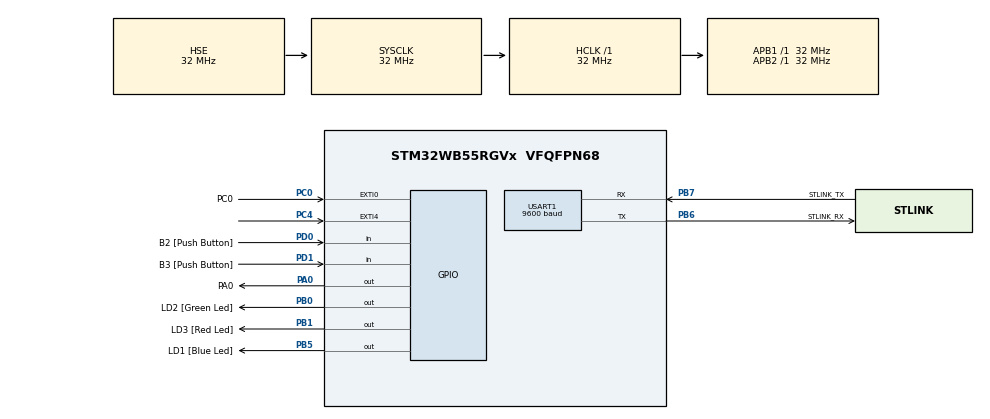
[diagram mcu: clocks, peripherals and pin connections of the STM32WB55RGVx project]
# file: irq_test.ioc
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FREERTOS.Tasks01=defaultTask,24,128,StartDefaultTask,Default,NULL
FREERTOS.configTOTAL_HEAP_SIZE=10000
Mcu.Family=STM32WB
Mcu.Name=STM32WB55RGVx
Mcu.Package=VFQFPN68
NVIC.EXTI0_IRQn=true\:5\:0\:false\:false\:true\:true\:true\:true
NVIC.PriorityGroup=NVIC_PRIORITYGROUP_4
NVIC.TIM1_UP_TIM16_IRQn=true\:0\:0\:false\:false\:true\:false\:false\:true
NVIC.TimeBase=TIM1_UP_TIM16_IRQn
NVIC.TimeBaseIP=TIM1
NVIC.USART1_IRQn=true\:5\:0\:false\:false\:true\:true\:true\:true
OSC_IN.Mode=HSE-External-Oscillator
OSC_IN.Signal=RCC_OSC_IN
OSC_OUT.Mode=HSE-External-Oscillator
OSC_OUT.Signal=RCC_OSC_OUT
PA0.GPIO_Label=PA0
PA0.Signal=GPIO_Output
PA11.Signal=USART1_CTS
PA12.Signal=USART1_RTS
PA13.GPIO_Label=JTMS
PA13.Mode=Trace_Asynchronous_SW
PA13.Signal=SYS_JTMS-SWDIO
PA14.GPIO_Label=JTCK
PA14.Mode=Trace_Asynchronous_SW
PA14.Signal=SYS_JTCK-SWCLK
PB0.GPIO_Label=LD2 [Green Led]
PB0.Signal=GPIO_Output
PB1.GPIO_Label=LD3 [Red Led]
PB1.Signal=GPIO_Output
PB3.GPIO_Label=JTDO
PB3.Mode=Trace_Asynchronous_SW
PB3.Signal=SYS_JTDO-SWO
PB5.GPIO_Label=LD1 [Blue Led]
PB5.Signal=GPIO_Output
PB6.GPIO_Label=STLINK_RX
PB6.Mode=Asynchronous
PB6.Signal=USART1_TX
PB7.GPIO_Label=STLINK_TX
PB7.Mode=Asynchronous
PB7.Signal=USART1_RX
PC0.GPIO_Label=PC0
PC0.GPIO_ModeDefaultEXTI=GPIO_MODE_IT_RISING_FALLING
PC0.Signal=GPXTI0
PC13.Mode=SYS_WakeUp1
PC13.Signal=SYS_WKUP2
PC14-OSC32_IN.Mode=LSE-External-Oscillator
PC14-OSC32_IN.Signal=RCC_OSC32_IN
PC15-OSC32_OUT.Mode=LSE-External-Oscillator
PC15-OSC32_OUT.Signal=RCC_OSC32_OUT
PC4.Signal=GPXTI4
PD0.GPIO_Label=B2 [Push Button]
PD0.Signal=GPIO_Input
PD1.GPIO_Label=B3 [Push Button]
PD1.Signal=GPIO_Input
ProjectManager.HeapSize=0x200
ProjectManager.StackSize=0x400
ProjectManager.TargetToolchain=TrueSTUDIO
RCC.ADCFreq_Value=48000000
RCC.AHBFreq_Value=32000000
RCC.APB1Freq_Value=32000000
RCC.APB1TimFreq_Value=32000000
RCC.APB2Freq_Value=32000000
RCC.APB2TimFreq_Value=32000000
RCC.APB3Freq_Value=16000000
RCC.CortexFreq_Value=32000000
RCC.HCLKFreq_Value=32000000
RCC.HSE_VALUE=32000000
RCC.HSI48_VALUE=48000000
RCC.HSI_VALUE=16000000
RCC.PLLN=32
RCC.PLLSAI1N=24
RCC.SMPSCLockSelectionVirtual=RCC_SMPSCLKSOURCE_HSI
RCC.SYSCLKFreq_VALUE=32000000
RCC.SYSCLKSource=RCC_SYSCLKSOURCE_HSE
RCC.USBFreq_Value=48000000
RCC.VCOOutputFreq_Value=128000000
TIM16.AutoReloadPreload=TIM_AUTORELOAD_PRELOAD_DISABLE
TIM16.Period=65535
TIM16.Prescaler=31
USART1.BaudRate=9600
USART1.Mode=MODE_TX
USART1.VirtualMode-Asynchronous=VM_ASYNC
USART1.WordLength=WORDLENGTH_8B
VP_FREERTOS_VS_CMSIS_V2.Mode=CMSIS_V2
VP_SYS_VS_tim1.Mode=TIM1
VP_TIM16_VS_ClockSourceINT.Mode=Enable_Timer
board=P-NUCLEO-WB55-Nucleo

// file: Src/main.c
/* USER CODE BEGIN Header */
/**
  ******************************************************************************
  * @file           : main.c
  * @brief          : Main program body
  ******************************************************************************
  * @attention
  *
  * <h2><center>&copy; Copyright (c) 2019 STMicroelectronics.
  * All rights reserved.</center></h2>
  *
  * This software component is licensed by ST under BSD 3-Clause license,
  * the "License"; You may not use this file except in compliance with the
  * License. You may obtain a copy of the License at:
  *                        opensource.org/licenses/BSD-3-Clause
  *
  ******************************************************************************
  */
/* USER CODE END Header */

#include "main.h"
#include "cmsis_os.h"
#include "tim.h"
#include "usart.h"
#include "gpio.h"

/* USER CODE BEGIN Includes */
#include "input.h"
#include "UART_Print.h"
/* USER CODE END Includes */

/* USER CODE BEGIN PV */
uint16_t timestamp;
/* USER CODE END PV */

void SystemClock_Config(void);
void MX_FREERTOS_Init(void);

int main(void)
{

  /* MCU Configuration--------------------------------------------------------*/

  /* Reset of all peripherals, Initializes the Flash interface and the Systick. */
  HAL_Init();

  /* USER CODE BEGIN Init */

  /*
  0.9906603097915649 3.1649246215820312 -3.1641173362731934

  1.1191024780273438 2.9254844188690186 -3.0168585777282715

  1.390141248703003 2.7151379585266113 -2.6727542877197266
  1.3916372060775757 2.71722412109375 -2.6725592613220215
  1.3913373947143555 2.715819835662842 -2.670470714569092
  1.3902995586395264 2.7140369415283203 -2.6673338413238525
  1.3900556564331055 2.714602470397949 -2.6696364879608154
  1.39014732837677 2.7127089500427246 -2.6654574871063232
  1.389641284942627 2.7145214080810547 -2.6688194274902344
  1.3903274536132812 2.7141833305358887 -2.667147159576416
  1.3897883892059326 2.71459698677063 -2.669027805328369
  1.3894896507263184 2.7131919860839844 -2.6669399738311768

  1.4567177295684814 2.652040958404541 -2.2498369216918945
  1.4570386409759521 2.6543631553649902 -2.25695538520813
  1.4570386409759521 2.6543631553649902 -2.25695538520813
  1.4597516059875488 2.6657347679138184 -2.2779958248138428
  1.457124948501587 2.6544549465179443 -2.257263660430908
  1.457124948501587 2.6544549465179443 -2.257263660430908
  1.4589807987213135 2.661530017852783 -2.266141414642334
  1.457320213317871 2.654055595397949 -2.2550864219665527
  1.4574520587921143 2.655864715576172 -2.2638890743255615
  1.4589322805404663 2.661686897277832 -2.2710394859313965
  1.4573485851287842 2.6540489196777344 -2.2551157474517822

  1.3388992547988892 2.1371521949768066 -0.9773949384689331

  1.2812772989273071 2.131464958190918 -0.30127477645874023

  -0.8058124780654907 2.125798225402832 -1.981210708618164

  -0.7668148279190063 2.0839972496032715 -1.6217743158340454

  -0.7405673861503601 1.95911705493927 -1.0910862684249878

  -0.7028796672821045 1.9338493347167969 -0.8308773636817932

  -0.35385504364967346 1.975441336631775 -0.5765801072120667

  0.0006465911865234375 2.036484479904175 -0.7312285900115967

*/

  /* USER CODE END Init */

  /* Configure the system clock */
  SystemClock_Config();

  /* Initialize all configured peripherals */
  MX_GPIO_Init();
  MX_USART1_UART_Init();
  MX_TIM16_Init();
  /* USER CODE BEGIN 2 */
  UART_Send_Start();

  HAL_TIM_Base_Start(&htim16);

  /* USER CODE END 2 */

  /* Call init function for freertos objects (in freertos.c) */
  MX_FREERTOS_Init();

  /* Start scheduler */
  osKernelStart();

  /* We should never get here as control is now taken by the scheduler */

  /* Infinite loop */
  while (1)
  {

  }
}

void SystemClock_Config(void)
{
  RCC_OscInitTypeDef RCC_OscInitStruct = {0};
  RCC_ClkInitTypeDef RCC_ClkInitStruct = {0};
  RCC_PeriphCLKInitTypeDef PeriphClkInitStruct = {0};

  /** Configure the main internal regulator output voltage
  */
  __HAL_PWR_VOLTAGESCALING_CONFIG(PWR_REGULATOR_VOLTAGE_SCALE1);
  /** Initializes the CPU, AHB and APB busses clocks
  */
  RCC_OscInitStruct.OscillatorType = RCC_OSCILLATORTYPE_HSI|RCC_OSCILLATORTYPE_HSE;
  RCC_OscInitStruct.HSEState = RCC_HSE_ON;
  RCC_OscInitStruct.HSIState = RCC_HSI_ON;
  RCC_OscInitStruct.HSICalibrationValue = RCC_HSICALIBRATION_DEFAULT;
  RCC_OscInitStruct.PLL.PLLState = RCC_PLL_NONE;
  if (HAL_RCC_OscConfig(&RCC_OscInitStruct) != HAL_OK)
  {
    Error_Handler();
  }
  /** Configure the SYSCLKSource, HCLK, PCLK1 and PCLK2 clocks dividers
  */
  RCC_ClkInitStruct.ClockType = RCC_CLOCKTYPE_HCLK4|RCC_CLOCKTYPE_HCLK2
                              |RCC_CLOCKTYPE_HCLK|RCC_CLOCKTYPE_SYSCLK
                              |RCC_CLOCKTYPE_PCLK1|RCC_CLOCKTYPE_PCLK2;
  RCC_ClkInitStruct.SYSCLKSource = RCC_SYSCLKSOURCE_HSE;
  RCC_ClkInitStruct.AHBCLKDivider = RCC_SYSCLK_DIV1;
  RCC_ClkInitStruct.APB1CLKDivider = RCC_HCLK_DIV1;
  RCC_ClkInitStruct.APB2CLKDivider = RCC_HCLK_DIV1;
  RCC_ClkInitStruct.AHBCLK2Divider = RCC_SYSCLK_DIV1;
  RCC_ClkInitStruct.AHBCLK4Divider = RCC_SYSCLK_DIV1;

  if (HAL_RCC_ClockConfig(&RCC_ClkInitStruct, FLASH_LATENCY_1) != HAL_OK)
  {
    Error_Handler();
  }
  /** Initializes the peripherals clocks
  */
  PeriphClkInitStruct.PeriphClockSelection = RCC_PERIPHCLK_SMPS|RCC_PERIPHCLK_USART1;
  PeriphClkInitStruct.Usart1ClockSelection = RCC_USART1CLKSOURCE_PCLK2;
  PeriphClkInitStruct.SmpsClockSelection = RCC_SMPSCLKSOURCE_HSI;
  PeriphClkInitStruct.SmpsDivSelection = RCC_SMPSCLKDIV_RANGE1;

  if (HAL_RCCEx_PeriphCLKConfig(&PeriphClkInitStruct) != HAL_OK)
  {
    Error_Handler();
  }
}

/* USER CODE BEGIN 4 */

void HAL_GPIO_EXTI_Callback(uint16_t GPIO_Pin){
	timestamp = __HAL_TIM_GET_COUNTER(&htim16);

	GPIO_PinState pin_state = HAL_GPIO_ReadPin(PC0_GPIO_Port, PC0_Pin);
	if (pin_state == GPIO_PIN_SET) {
		//Rising edge
		input0.rise_time_ = timestamp;
		input0.rise_valid_ = 1;
		HAL_GPIO_WritePin(GPIOA, GPIO_PIN_0, GPIO_PIN_SET);
	}
	else if (input0.rise_valid_ && pin_state == GPIO_PIN_RESET) {
		//Falling edge
		enqueue_pulse(&input0, input0.rise_time_, timestamp - input0.rise_time_);
		input0.rise_valid_ = 0;
		HAL_GPIO_WritePin(GPIOA, GPIO_PIN_0, GPIO_PIN_RESET);
	}
}

/* USER CODE END 4 */

void HAL_TIM_PeriodElapsedCallback(TIM_HandleTypeDef *htim)
{
  if (htim->Instance == TIM1) {
    HAL_IncTick();
  }
}

void Error_Handler(void)
{
}

/************************ (C) COPYRIGHT STMicroelectronics *****END OF FILE****/

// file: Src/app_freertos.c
/* USER CODE BEGIN Header */
/**
  ******************************************************************************
  * File Name          : app_freertos.c
  * Description        : Code for freertos applications
  ******************************************************************************
  * @attention
  *
  * <h2><center>&copy; Copyright (c) 2020 STMicroelectronics.
  * All rights reserved.</center></h2>
  *
  * This software component is licensed by ST under Ultimate Liberty license
  * SLA0044, the "License"; You may not use this file except in compliance with
  * the License. You may obtain a copy of the License at:
  *                             www.st.com/SLA0044
  *
  ******************************************************************************
  */
/* USER CODE END Header */

#include "FreeRTOS.h"
#include "task.h"
#include "main.h"
#include "cmsis_os.h"

/* USER CODE BEGIN Includes */
#include "input.h"
#include "pulse_processor.h"
/* USER CODE END Includes */

osThreadId_t defaultTaskHandle;

void StartDefaultTask(void *argument);

void MX_FREERTOS_Init(void); /* (MISRA C 2004 rule 8.1) */

void MX_FREERTOS_Init(void) {
osKernelInitialize();

  /* Create the thread(s) */
  /* definition and creation of defaultTask */

/*
  const osThreadAttr_t defaultTask_attributes = {
    .name = "defaultTask",
    .priority = (osPriority_t) osPriorityNormal,
    .stack_size = 128
  };
  defaultTaskHandle = osThreadNew(StartDefaultTask, NULL, &defaultTask_attributes);
*/

  /* USER CODE BEGIN RTOS_THREADS */
  /* add threads, ... */
	const osThreadAttr_t masterTask_attributes = {
		.name = "masterTask",
		.priority = (osPriority_t) osPriorityHigh,
		.stack_size = 512
	  };
	masterTaskHandle = osThreadNew(MasterTask, NULL, &masterTask_attributes);
	viveQueue = osMessageQueueNew(10, sizeof(VIVEVars), NULL);

  const osThreadAttr_t pulseHandlerTask_attributes = {
      .name = "pulseHandlerTask",
      .priority = (osPriority_t) osPriorityAboveNormal,
      .stack_size = 1024
    };
  pulseHandlerTaskHandle = osThreadNew(PulseHandlerTask, NULL, &pulseHandlerTask_attributes);
  pulseQueue = osMessageQueueNew (10, sizeof(Pulse), NULL);
  /* USER CODE END RTOS_THREADS */

}

void StartDefaultTask(void *argument)
{

  for(;;)
  {
    osDelay(1);
  }
}

/************************ (C) COPYRIGHT STMicroelectronics *****END OF FILE****/
